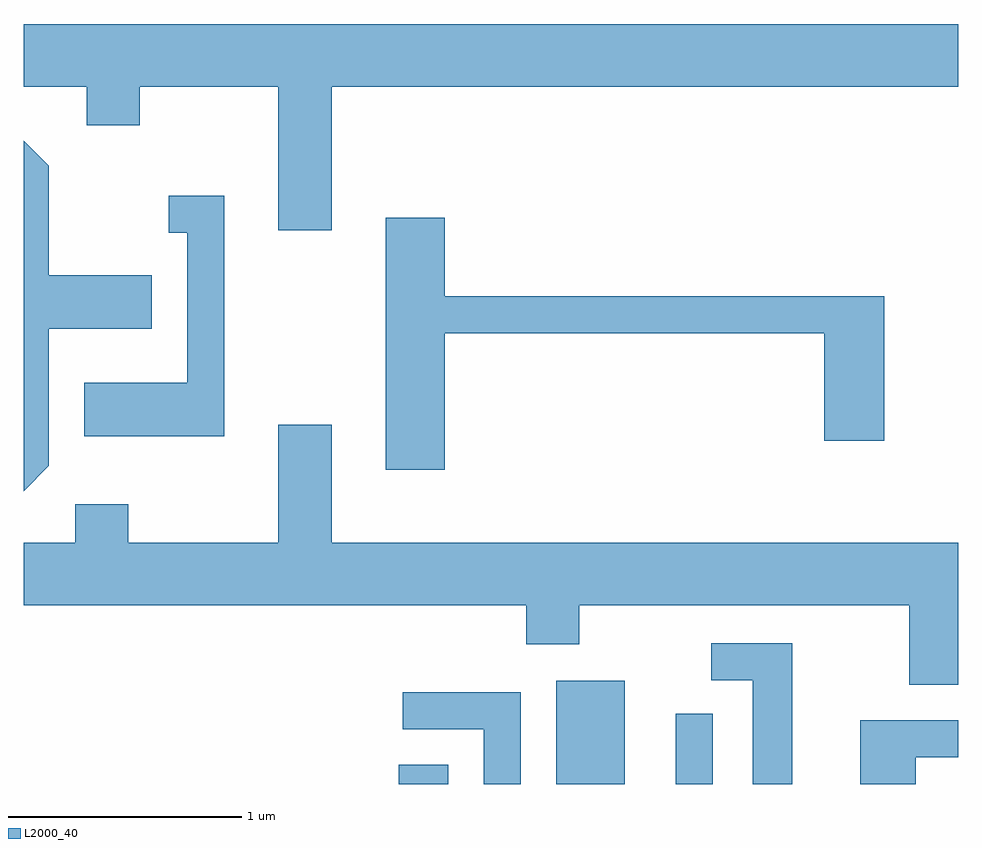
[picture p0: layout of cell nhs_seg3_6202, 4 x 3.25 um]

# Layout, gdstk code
import gdstk
lib = gdstk.Library(unit=1e-6, precision=1e-09)
def R(c, l, rs):  # rectangles x0, y0, x1, y1
    for r in rs: c.add(gdstk.rectangle(r[:2], r[2:], *l))
def P(c, l, *ps):  # polygons
    for p in ps: c.add(gdstk.Polygon(p, *l))
L2000_40 = (2000, 40)

nhs_seg3_6202 = lib.new_cell('nhs_seg3_6202')
R(nhs_seg3_6202, L2000_40, [(369.216,1151.892,369.429,1151.974), (369.891,1151.892,370.184,1152.334), (370.401,1151.892,370.559,1152.193)])
P(nhs_seg3_6202, L2000_40, [(368.929,1154.876),(371.611,1154.876),(371.611,1155.144),(367.611,1155.144),(367.611,1154.876),(367.881,1154.876),(367.881,1154.711),(368.109,1154.711),(368.109,1154.876),(368.701,1154.876),(368.701,1154.261),(368.929,1154.261)],
  [(367.719,1153.254),(367.719,1153.841),(368.159,1153.841),(368.159,1154.069),(367.719,1154.069),(367.719,1154.537),(367.611,1154.645),(367.611,1153.145)],
  [(368.469,1154.409),(368.233,1154.409),(368.233,1154.251),(368.311,1154.251),(368.311,1153.609),(367.871,1153.609),(367.871,1153.381),(368.469,1153.381)],
  [(369.414,1153.821),(371.036,1153.821),(371.036,1153.361),(371.294,1153.361),(371.294,1153.979),(369.414,1153.979),(369.414,1154.314),(369.161,1154.314),(369.161,1153.236),(369.414,1153.236)],
  [(371.611,1152.924),(368.929,1152.924),(368.929,1153.429),(368.701,1153.429),(368.701,1152.924),(368.059,1152.924),(368.059,1153.089),(367.831,1153.089),(367.831,1152.924),(367.611,1152.924),(367.611,1152.656),(369.761,1152.656),(369.761,1152.491),(369.989,1152.491),(369.989,1152.656),(371.401,1152.656),(371.401,1152.316),(371.611,1152.316)],
  [(370.899,1152.494),(370.553,1152.494),(370.553,1152.336),(370.731,1152.336),(370.731,1151.892),(370.899,1151.892)],
  [(369.739,1152.284),(369.233,1152.284),(369.233,1152.126),(369.581,1152.126),(369.581,1151.892),(369.739,1151.892)],
  [(371.429,1152.006),(371.611,1152.006),(371.611,1152.164),(371.191,1152.164),(371.191,1151.892),(371.429,1151.892)])

lib.write_gds('nhs_seg3_6202.gds')
